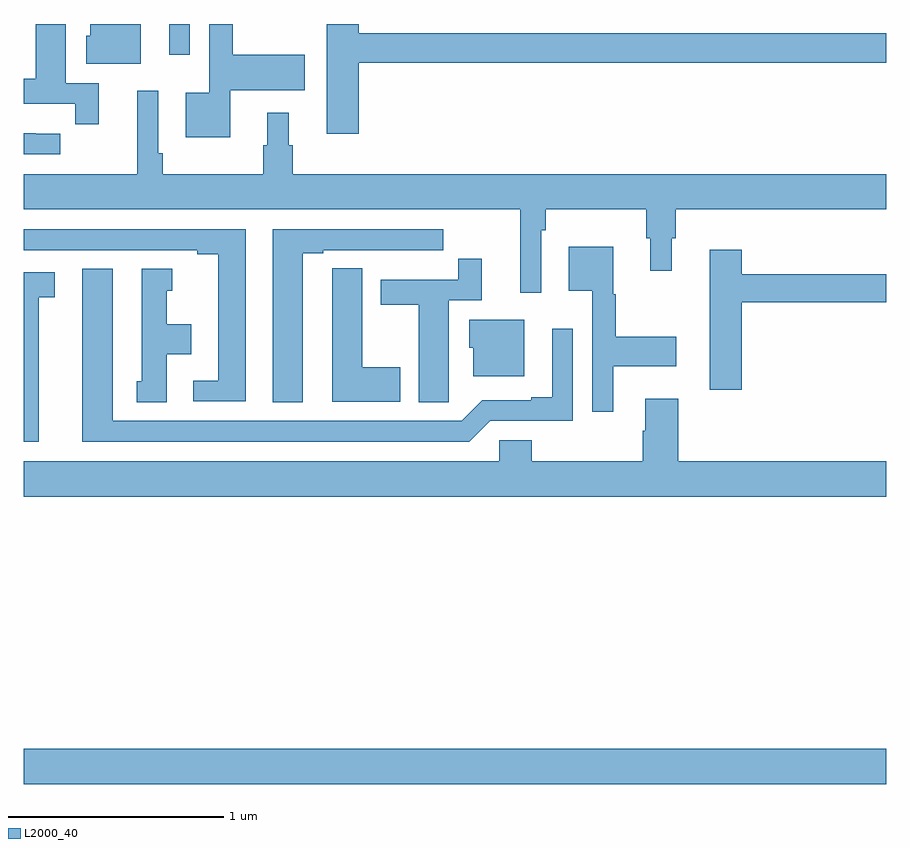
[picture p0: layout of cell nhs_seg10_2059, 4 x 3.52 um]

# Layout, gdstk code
import gdstk
lib = gdstk.Library(unit=1e-6, precision=1e-09)
def R(c, l, rs):  # rectangles x0, y0, x1, y1
    for r in rs: c.add(gdstk.rectangle(r[:2], r[2:], *l))
def P(c, l, *ps):  # polygons
    for p in ps: c.add(gdstk.Polygon(p, *l))
L2000_40 = (2000, 40)

nhs_seg10_2059 = lib.new_cell('nhs_seg10_2059')
R(nhs_seg10_2059, L2000_40, [(219,1306.976,223,1307.14), (219.674,1310.358,219.771,1310.5)])
P(nhs_seg10_2059, L2000_40, [(220.553,1310.32),(223,1310.32),(223,1310.456),(220.553,1310.456),(220.553,1310.5),(220.406,1310.5),(220.406,1309.992),(220.553,1309.992)],
  [(219.347,1310.226),(219.196,1310.226),(219.196,1310.5),(219.056,1310.5),(219.056,1310.247),(219,1310.247),(219,1310.13),(219.238,1310.13),(219.238,1310.034),(219.347,1310.034)],
  [(219.958,1310.192),(220.303,1310.192),(220.303,1310.358),(219.97,1310.358),(219.97,1310.5),(219.861,1310.5),(219.861,1310.182),(219.752,1310.182),(219.752,1309.976),(219.958,1309.976)],
  [(219.544,1310.5),(219.308,1310.5),(219.308,1310.445),(219.29,1310.445),(219.29,1310.315),(219.544,1310.315)],
  [(219.624,1309.9),(219.624,1310.191),(219.527,1310.191),(219.527,1309.804),(219,1309.804),(219,1309.64),(221.303,1309.64),(221.303,1309.254),(221.4,1309.254),(221.4,1309.544),(221.42,1309.544),(221.42,1309.64),(221.887,1309.64),(221.887,1309.506),(221.906,1309.506),(221.906,1309.356),(222.004,1309.356),(222.004,1309.506),(222.023,1309.506),(222.023,1309.64),(223,1309.64),(223,1309.804),(220.247,1309.804),(220.247,1309.938),(220.228,1309.938),(220.228,1310.089),(220.13,1310.089),(220.13,1309.938),(220.111,1309.938),(220.111,1309.804),(219.644,1309.804),(219.644,1309.9)],
  [(219.169,1309.992),(219.056,1309.992),(219.056,1309.993),(219,1309.993),(219,1309.896),(219.169,1309.896)],
  [(220.294,1309.437),(220.39,1309.437),(220.39,1309.452),(220.666,1309.452),(220.666,1309.451),(220.832,1309.451),(220.832,1309.452),(220.945,1309.452),(220.945,1309.548),(220.154,1309.548),(220.154,1308.745),(220.294,1308.745)],
  [(220.03,1309.548),(219,1309.548),(219,1309.452),(219.806,1309.452),(219.806,1309.432),(219.902,1309.432),(219.902,1308.846),(219.786,1308.846),(219.786,1308.75),(220.03,1308.75)],
  [(221.734,1308.914),(222.025,1308.914),(222.025,1309.049),(221.746,1309.049),(221.746,1309.248),(221.734,1309.248),(221.734,1309.468),(221.528,1309.468),(221.528,1309.262),(221.637,1309.262),(221.637,1308.702),(221.734,1308.702)],
  [(222.329,1309.21),(223,1309.21),(223,1309.339),(222.329,1309.339),(222.329,1309.453),(222.182,1309.453),(222.182,1308.804),(222.329,1308.804)],
  [(220.971,1308.856),(220.972,1308.856),(220.972,1309.218),(221.123,1309.218),(221.123,1309.411),(221.014,1309.411),(221.014,1309.314),(220.655,1309.314),(220.655,1309.198),(220.832,1309.198),(220.832,1308.745),(220.971,1308.745)],
  [(220.747,1308.909),(220.57,1308.909),(220.57,1309.367),(220.431,1309.367),(220.431,1309.259),(220.43,1309.259),(220.43,1308.749),(220.747,1308.749)],
  [(221.163,1308.66),(221.547,1308.66),(221.547,1309.087),(221.45,1309.087),(221.45,1308.769),(221.354,1308.769),(221.354,1308.756),(221.127,1308.756),(221.031,1308.66),(219.412,1308.66),(219.412,1309.366),(219.272,1309.366),(219.272,1308.564),(221.067,1308.564)],
  [(219.664,1308.968),(219.778,1308.968),(219.778,1309.108),(219.664,1309.108),(219.664,1309.263),(219.688,1309.263),(219.688,1309.366),(219.548,1309.366),(219.548,1308.843),(219.524,1308.843),(219.524,1308.745),(219.664,1308.745)],
  [(219.07,1309.234),(219.145,1309.234),(219.145,1309.35),(219,1309.35),(219,1308.564),(219.07,1308.564)],
  [(221.32,1309.129),(221.066,1309.129),(221.066,1308.999),(221.084,1308.999),(221.084,1308.866),(221.32,1308.866)],
  [(223,1308.472),(222.035,1308.472),(222.035,1308.763),(221.882,1308.763),(221.882,1308.614),(221.87,1308.614),(221.87,1308.472),(221.357,1308.472),(221.357,1308.57),(221.205,1308.57),(221.205,1308.472),(219,1308.472),(219,1308.308),(223,1308.308)])

lib.write_gds('nhs_seg10_2059.gds')
